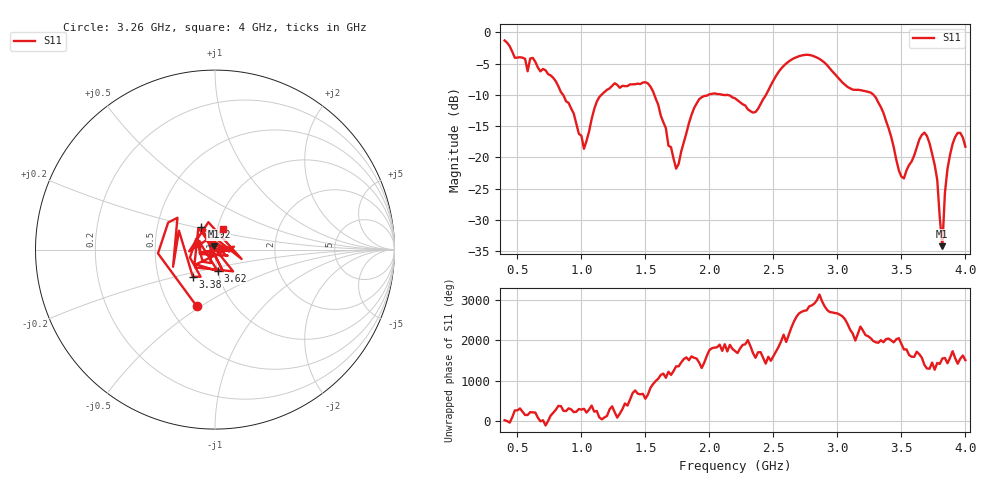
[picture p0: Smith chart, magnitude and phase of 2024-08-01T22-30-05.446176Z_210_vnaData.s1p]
!Created with skrf (http://scikit-rf.org).
# Hz S RI R 50.0
!freq ReS11 ImS11
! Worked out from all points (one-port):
!   181 points, 400 MHz to 4 GHz, reference 50 ohm
!   lowest |S11| = -34.2 dB at 3.82 GHz (marker M1), VSWR 1.04, Z = 49.3 + j1.82 ohm
!   |S11| at or under -10 dB: 857.3 MHz to 1.156 GHz (298.6 MHz wide, 29.7 % of centre); 1.57 GHz to 1.991 GHz (421.3 MHz wide, 23.7 % of centre); 3.283 GHz to end of sweep (the widest 3 of 5)
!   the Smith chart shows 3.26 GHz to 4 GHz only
!   S11 on the Smith chart (normalised r, x): 3.26 GHz: 0.68, -0.48; 3.38 GHz: 0.75, -0.24; 3.62 GHz: 1.00, -0.24; 3.92 GHz: 0.84, +0.21; 4 GHz: 1.07, +0.24
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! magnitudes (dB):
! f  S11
! 400 MHz  -1.3
! 860 MHz  -10.1
! 1.02 GHz  -18.6
! 1.14 GHz  -10.3
! 1.3 GHz  -8.9
! 1.52 GHz  -8.2
! 1.6 GHz  -11.6
! 1.74 GHz  -21.8
! 1.76 GHz  -21.0
! 1.92 GHz  -10.7
! 2.2 GHz  -10.5
! 2.36 GHz  -12.7
! 2.66 GHz  -4.1
! 2.86 GHz  -4.2
! 3.1 GHz  -9.0
! 3.26 GHz  -9.6
! 3.38 GHz  -14.2
! 3.5 GHz  -23.1
! 3.56 GHz  -21.2
! 3.62 GHz  -18.4
! 3.68 GHz  -16.0
! 3.72 GHz  -17.8
! 3.78 GHz  -23.6
! 3.82 GHz  -34.2
! 3.84 GHz  -25.7
! 3.86 GHz  -21.8
! 3.92 GHz  -16.7
! 4 GHz  -18.3
